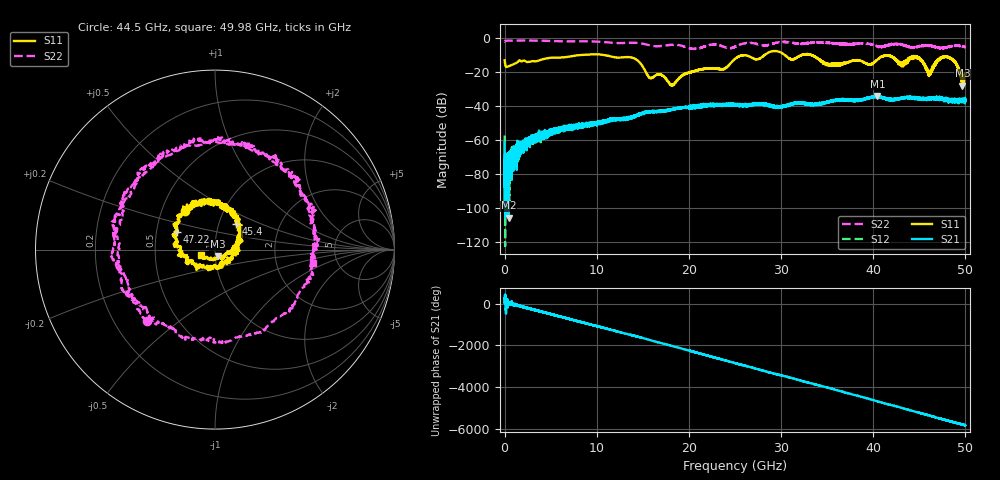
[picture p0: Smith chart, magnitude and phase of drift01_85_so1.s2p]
!Created with skrf (http://scikit-rf.org).
# Hz S RI R 50.0
!freq ReS11 ImS11 ReS21 ImS21 ReS12 ImS12 ReS22 ImS22
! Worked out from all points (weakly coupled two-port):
!   10001 points, 300 kHz to 50 GHz, reference 50 ohm
!   highest |S21| = -34.07 dB at 40.45 GHz (marker M1); lowest = -105.6 dB at 435.3 MHz (marker M2)
!   lowest |S11| = -28.0 dB at 49.67 GHz (marker M3), VSWR 1.08, Z = 51.3 - j3.82 ohm
!   |S11| at or under -10 dB: start of sweep to 8.067 GHz; 10.91 GHz to 25.86 GHz (14.96 GHz wide, 81.4 % of centre); 41.34 GHz to end of sweep (the widest 3 of 20)
!   |S22| runs from -6.4 to -1.3 dB; largest |S21 - S12| = 0.0044
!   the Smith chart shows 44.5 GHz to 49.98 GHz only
!   S11 on the Smith chart (normalised r, x): 44.5 GHz: 0.65, +0.30; 45.4 GHz: 1.20, +0.36; 47.22 GHz: 0.64, +0.13; 49.98 GHz: 0.85, -0.06
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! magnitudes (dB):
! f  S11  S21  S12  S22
! 300 kHz  -13.1  -61.4  -57.1  -2.1
! 255.3 MHz  -16.9  -82.6  -83.9  -1.4
! 435.3 MHz  -16.5  -105.6  -76.6  -1.4
! 3.16 GHz  -13.5  -57.2  -59.1  -1.4
! 8.335 GHz  -9.9  -51.3  -51.9  -1.8
! 13.8 GHz  -11.4  -46.4  -45.9  -2.7
! 15.74 GHz  -23.2  -43.6  -43.1  -4.2
! 16.67 GHz  -21.3  -43.3  -43.1  -4.8
! 18.2 GHz  -27.5  -42.0  -41.9  -3.8
! 25 GHz  -12.2  -39.1  -39.3  -5.0
! 33.34 GHz  -10.1  -39.2  -38.9  -2.7
! 35.33 GHz  -15.4  -37.4  -37.3  -2.8
! 40.45 GHz  -12.6  -34.1  -34.5  -4.9
! 41.67 GHz  -10.1  -35.3  -36.1  -4.0
! 44.5 GHz  -11.2  -35.4  -35.5  -5.2
! 45.4 GHz  -14.7  -35.8  -35.7  -4.7
! 46.14 GHz  -19.6  -35.2  -35.3  -4.1
! 47.22 GHz  -12.6  -35.3  -35.8  -5.9
! 48.68 GHz  -13.1  -37.5  -36.5  -4.5
! 49.67 GHz  -28.0  -36.7  -36.5  -4.8
! 49.98 GHz  -21.4  -36.7  -36.3  -5.2
! 50 GHz  -21.1  -37.0  -36.8  -5.3
